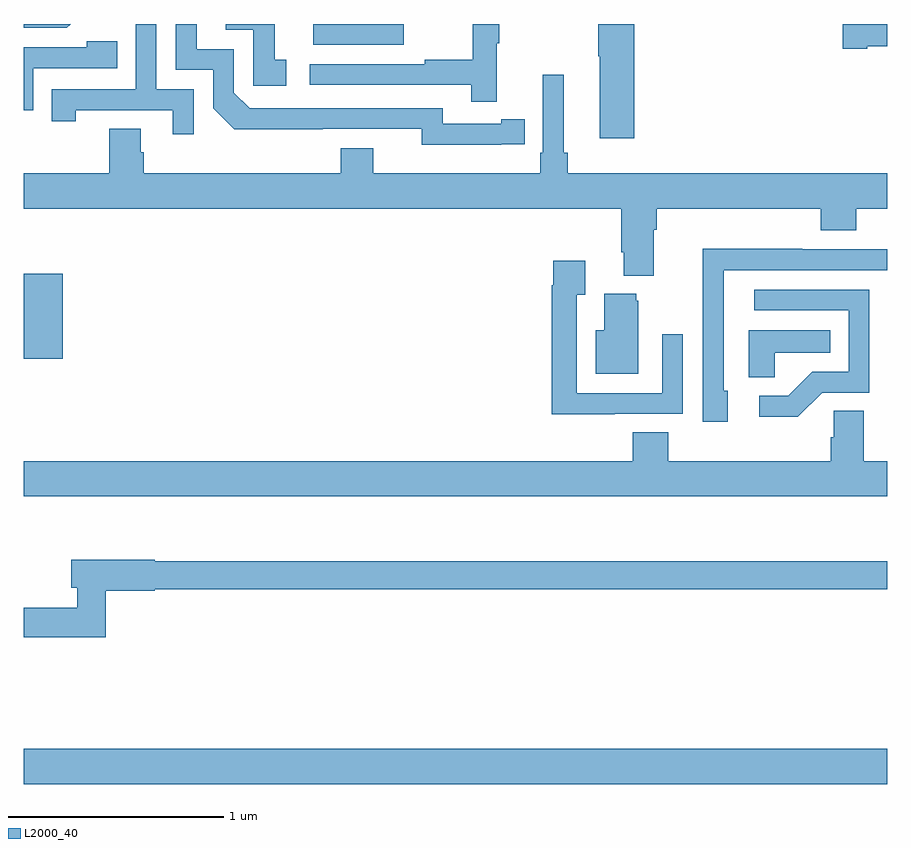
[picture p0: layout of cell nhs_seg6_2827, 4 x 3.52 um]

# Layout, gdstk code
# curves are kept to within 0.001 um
import gdstk
lib = gdstk.Library(unit=1e-6, precision=1e-09)
def R(c, l, rs):  # rectangles x0, y0, x1, y1
    for r in rs: c.add(gdstk.rectangle(r[:2], r[2:], *l))
def P(c, l, *ps):  # polygons
    for p in ps: c.add(gdstk.Polygon(p, *l))
L2000_40 = (2000, 40)

nhs_seg6_2827 = lib.new_cell('nhs_seg6_2827')
R(nhs_seg6_2827, L2000_40, [(277,969.98,281,970.144), (277,971.949,277.181,972.343), (278.342,973.403,278.761,973.5)])
P(nhs_seg6_2827, L2000_40, [(279.827,973.5),(279.661,973.5),(279.661,973.351),(279.668,973.351),(279.668,972.972),(279.827,972.972)],
  [(279.212,972.942),(279.32,972.942),(279.32,973.058),(279.212,973.058),(279.212,973.038),(278.94,973.038),(278.94,973.11),(278.046,973.11),(277.974,973.182),(277.974,973.383),(277.801,973.383),(277.801,973.5),(277.704,973.5),(277.704,973.287),(277.878,973.287),(277.878,973.11),(277.976,973.013),(278.844,973.014),(278.844,972.941)],
  [(277.788,973.197),(277.614,973.197),(277.614,973.5),(277.518,973.5),(277.518,973.197),(277.129,973.197),(277.129,973.05),(277.24,973.05),(277.24,973.101),(277.691,973.101),(277.691,972.99),(277.788,972.99)],
  [(277.218,973.5),(277,973.5),(277,973.482),(277.2,973.482)],
  [(279.191,973.411),(279.202,973.411),(279.202,973.5),(279.081,973.5),(279.081,973.334),(278.857,973.334),(278.857,973.314),(278.325,973.314),(278.325,973.218),(279.073,973.218),(279.073,973.14),(279.191,973.14)],
  [(278.215,973.335),(278.162,973.335),(278.162,973.5),(277.935,973.5),(277.935,973.473),(278.064,973.473),(278.064,973.215),(278.215,973.215)],
  [(280.906,973.397),(281,973.397),(281,973.5),(280.794,973.5),(280.794,973.385),(280.906,973.385)],
  [(277.044,973.296),(277.433,973.296),(277.433,973.419),(277.293,973.419),(277.293,973.392),(277,973.392),(277,973.101),(277.044,973.101)],
  [(279.919,972.548),(279.932,972.548),(279.932,972.644),(280.691,972.644),(280.691,972.545),(280.856,972.545),(280.856,972.644),(281,972.644),(281,972.808),(279.521,972.808),(279.521,972.904),(279.502,972.904),(279.502,973.264),(279.405,973.264),(279.405,972.904),(279.392,972.904),(279.392,972.808),(278.62,972.808),(278.62,972.925),(278.468,972.925),(278.468,972.808),(277.556,972.808),(277.556,972.906),(277.543,972.906),(277.543,973.016),(277.396,973.016),(277.396,972.808),(277,972.808),(277,972.644),(279.767,972.644),(279.767,972.442),(279.779,972.442),(279.779,972.335),(279.919,972.335)],
  [(280.261,971.802),(280.242,971.802),(280.242,972.36),(281,972.36),(281,972.456),(280.607,972.456),(280.607,972.458),(280.144,972.458),(280.144,972.151),(280.146,972.151),(280.146,971.658),(280.261,971.658)],
  [(279.737,971.694),(280.053,971.694),(280.053,972.064),(279.957,972.064),(279.957,971.79),(279.561,971.79),(279.561,972.247),(279.601,972.247),(279.601,972.403),(279.453,972.403),(279.453,972.29),(279.445,972.29),(279.445,971.693),(279.737,971.693)],
  [(280.698,971.793),(280.917,971.793),(280.917,972.27),(280.383,972.27),(280.383,972.174),(280.821,972.174),(280.821,971.889),(280.652,971.889),(280.541,971.778),(280.407,971.778),(280.407,971.681),(280.585,971.681)],
  [(279.847,972.219),(279.836,972.219),(279.836,972.25),(279.689,972.25),(279.689,972.082),(279.65,972.082),(279.65,971.879),(279.847,971.879)],
  [(280.479,971.978),(280.736,971.978),(280.736,972.082),(280.358,972.082),(280.358,971.863),(280.479,971.863)],
  [(281,971.476),(280.891,971.476),(280.891,971.708),(280.752,971.708),(280.752,971.585),(280.739,971.585),(280.739,971.476),(279.986,971.476),(279.986,971.609),(279.821,971.609),(279.821,971.476),(277,971.476),(277,971.312),(281,971.312)],
  [(277.379,970.874),(277.608,970.874),(277.608,970.882),(281,970.882),(281,971.011),(277.608,971.011),(277.608,971.019),(277.22,971.019),(277.22,970.889),(277.247,970.889),(277.247,970.796),(277,970.796),(277,970.66),(277.379,970.66)])

lib.write_gds('nhs_seg6_2827.gds')
